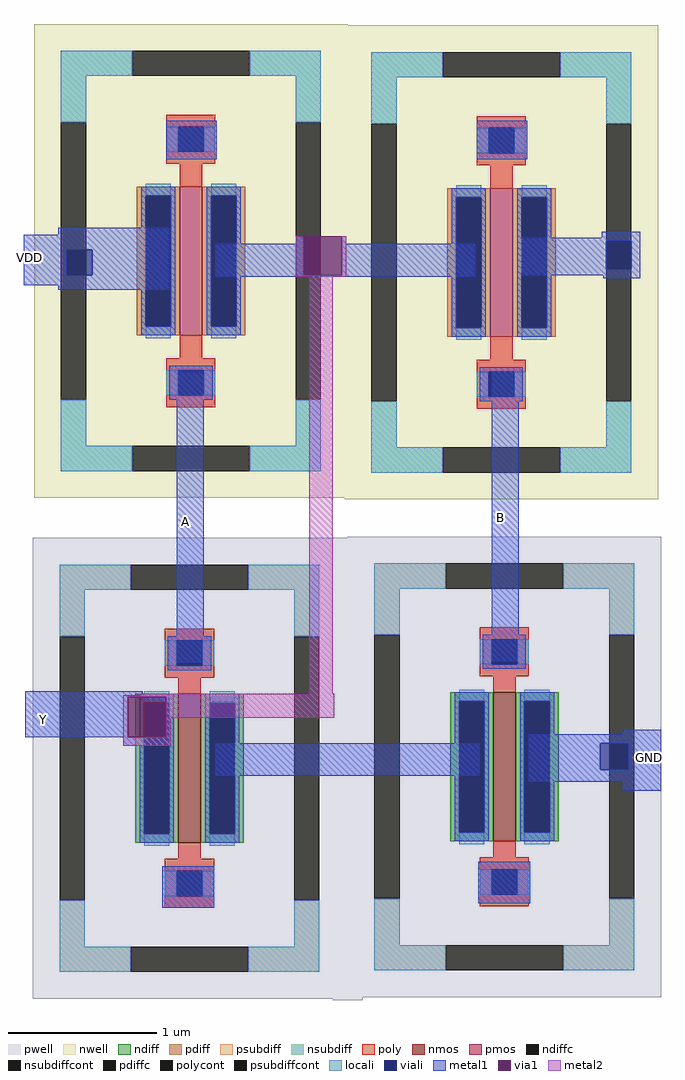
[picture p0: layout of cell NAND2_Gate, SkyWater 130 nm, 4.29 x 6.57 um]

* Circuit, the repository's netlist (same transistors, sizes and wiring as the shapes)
* SPICE3 file created from NAND2_Gate.ext - technology: sky130A

X0 m1_n1106_n2632# A Y GND sky130_fd_pr__nfet_01v8 ad=0.29 pd=2.58 as=0.29 ps=2.58 w=1 l=0.15
X1 GND B m1_n1106_n2632# GND sky130_fd_pr__nfet_01v8 ad=0.29 pd=2.58 as=0.58 ps=5.16 w=1 l=0.15
X2 Y A VDD VDD sky130_fd_pr__pfet_01v8 ad=0.29 pd=2.58 as=0.29 ps=2.58 w=1 l=0.15
X3 VDD B Y VDD sky130_fd_pr__pfet_01v8 ad=0.58 pd=5.16 as=0.58 ps=5.16 w=1 l=0.15
*C0 VDD GND 2.395105f **FLOATING

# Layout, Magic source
magic
tech sky130A
magscale 1 2
<< nwell >>
rect -586 -1908 -534 -1900
rect -694 -1958 -534 -1908
rect -584 -1962 -534 -1958
<< pwell >>
rect -948 -2934 -908 -2312
rect -558 -2652 -506 -2570
<< viali >>
rect -1306 -1958 -1272 -1924
rect -580 -1950 -546 -1912
rect -588 -2624 -550 -2588
<< metal1 >>
rect -1172 -1802 -1104 -1750
rect -754 -1802 -686 -1750
rect -1318 -1904 -1168 -1894
rect -1364 -1924 -1168 -1904
rect -998 -1916 -988 -1906
rect -1364 -1958 -1306 -1924
rect -1272 -1958 -1168 -1924
rect -1364 -1972 -1168 -1958
rect -1106 -1958 -988 -1916
rect -936 -1916 -930 -1906
rect -586 -1908 -534 -1900
rect -694 -1912 -534 -1908
rect -936 -1958 -756 -1916
rect -694 -1950 -580 -1912
rect -546 -1950 -534 -1912
rect -694 -1958 -534 -1950
rect -1106 -1960 -756 -1958
rect -584 -1962 -534 -1958
rect -1318 -1978 -1168 -1972
rect -1158 -2480 -1122 -2088
rect -734 -2478 -698 -2086
rect -1362 -2524 -1204 -2518
rect -1362 -2526 -1166 -2524
rect -1362 -2580 -1224 -2526
rect -1172 -2580 -1166 -2526
rect -558 -2576 -506 -2570
rect -1230 -2592 -1166 -2580
rect -684 -2588 -506 -2576
rect -1106 -2632 -750 -2588
rect -684 -2624 -588 -2588
rect -550 -2624 -506 -2588
rect -684 -2640 -506 -2624
rect -558 -2652 -506 -2640
rect -1178 -2810 -1108 -2754
rect -752 -2804 -682 -2748
<< via1 >>
rect -988 -1958 -936 -1906
rect -1224 -2580 -1172 -2526
<< metal2 >>
rect -998 -1958 -988 -1906
rect -936 -1958 -930 -1906
rect -998 -1960 -930 -1958
rect -980 -2522 -948 -1960
rect -1206 -2524 -946 -2522
rect -1230 -2526 -946 -2524
rect -1230 -2580 -1224 -2526
rect -1172 -2554 -946 -2526
rect -1172 -2580 -1166 -2554
rect -1230 -2592 -1166 -2580
use sky130_fd_pr__nfet_01v8_648S5X  XM1
transform 1 0 -1141 0 1 -2622
box -211 -310 211 310
use sky130_fd_pr__nfet_01v8_648S5X  XM2
transform 1 0 -717 0 1 -2620
box -211 -310 211 310
use sky130_fd_pr__pfet_01v8_XGS3BL  XM3
transform 1 0 -1139 0 1 -1939
box -211 -319 211 319
use sky130_fd_pr__pfet_01v8_XGS3BL  XM4
transform 1 0 -721 0 1 -1941
box -211 -319 211 319
<< labels >>
rlabel metal1 -1338 -2556 -1338 -2556 1 Y
rlabel metal1 -522 -2608 -522 -2608 1 GND
rlabel metal1 -1356 -1934 -1356 -1934 1 VDD
rlabel metal1 -722 -2284 -722 -2284 1 B
rlabel metal1 -1146 -2290 -1146 -2290 1 A
<< end >>

# cell sky130_fd_pr__nfet_01v8_648S5X: kit device sky130_fd_pr__nfet_01v8, w 1.0 l 0.15 m 1 nf 1 diffcov 100 polycov 100 guard 1 glc 1 grc 1 gtc 1 gbc 1 tbcov 100 rlcov 100 topc 1 botc 1 poverlap 0 doverlap 1 lmin 0.15 wmin 0.42 compatible {sky130_fd_pr__nfet_01v8 sky130_fd_pr__nfet_01v8_lvt sky130_fd_bs_flash__special_sonosfet_star sky130_fd_pr__nfet_g5v0d10v5 sky130_fd_pr__nfet_05v0_nvt sky130_fd_pr__nfet_03v3_nvt} full_metal 1 viasrc 100 viadrn 100 viagate 100 viagb 0 viagr 0 viagl 0 viagt 0

# cell sky130_fd_pr__pfet_01v8_XGS3BL: kit device sky130_fd_pr__pfet_01v8, w 1.0 l 0.15 m 1 nf 1 diffcov 100 polycov 100 guard 1 glc 1 grc 1 gtc 1 gbc 1 tbcov 100 rlcov 100 topc 1 botc 1 poverlap 0 doverlap 1 lmin 0.15 wmin 0.42 compatible {sky130_fd_pr__pfet_01v8 sky130_fd_pr__pfet_01v8_lvt sky130_fd_pr__pfet_01v8_hvt sky130_fd_pr__pfet_g5v0d10v5} full_metal 1 viasrc 100 viadrn 100 viagate 100 viagb 0 viagr 0 viagl 0 viagt 0
